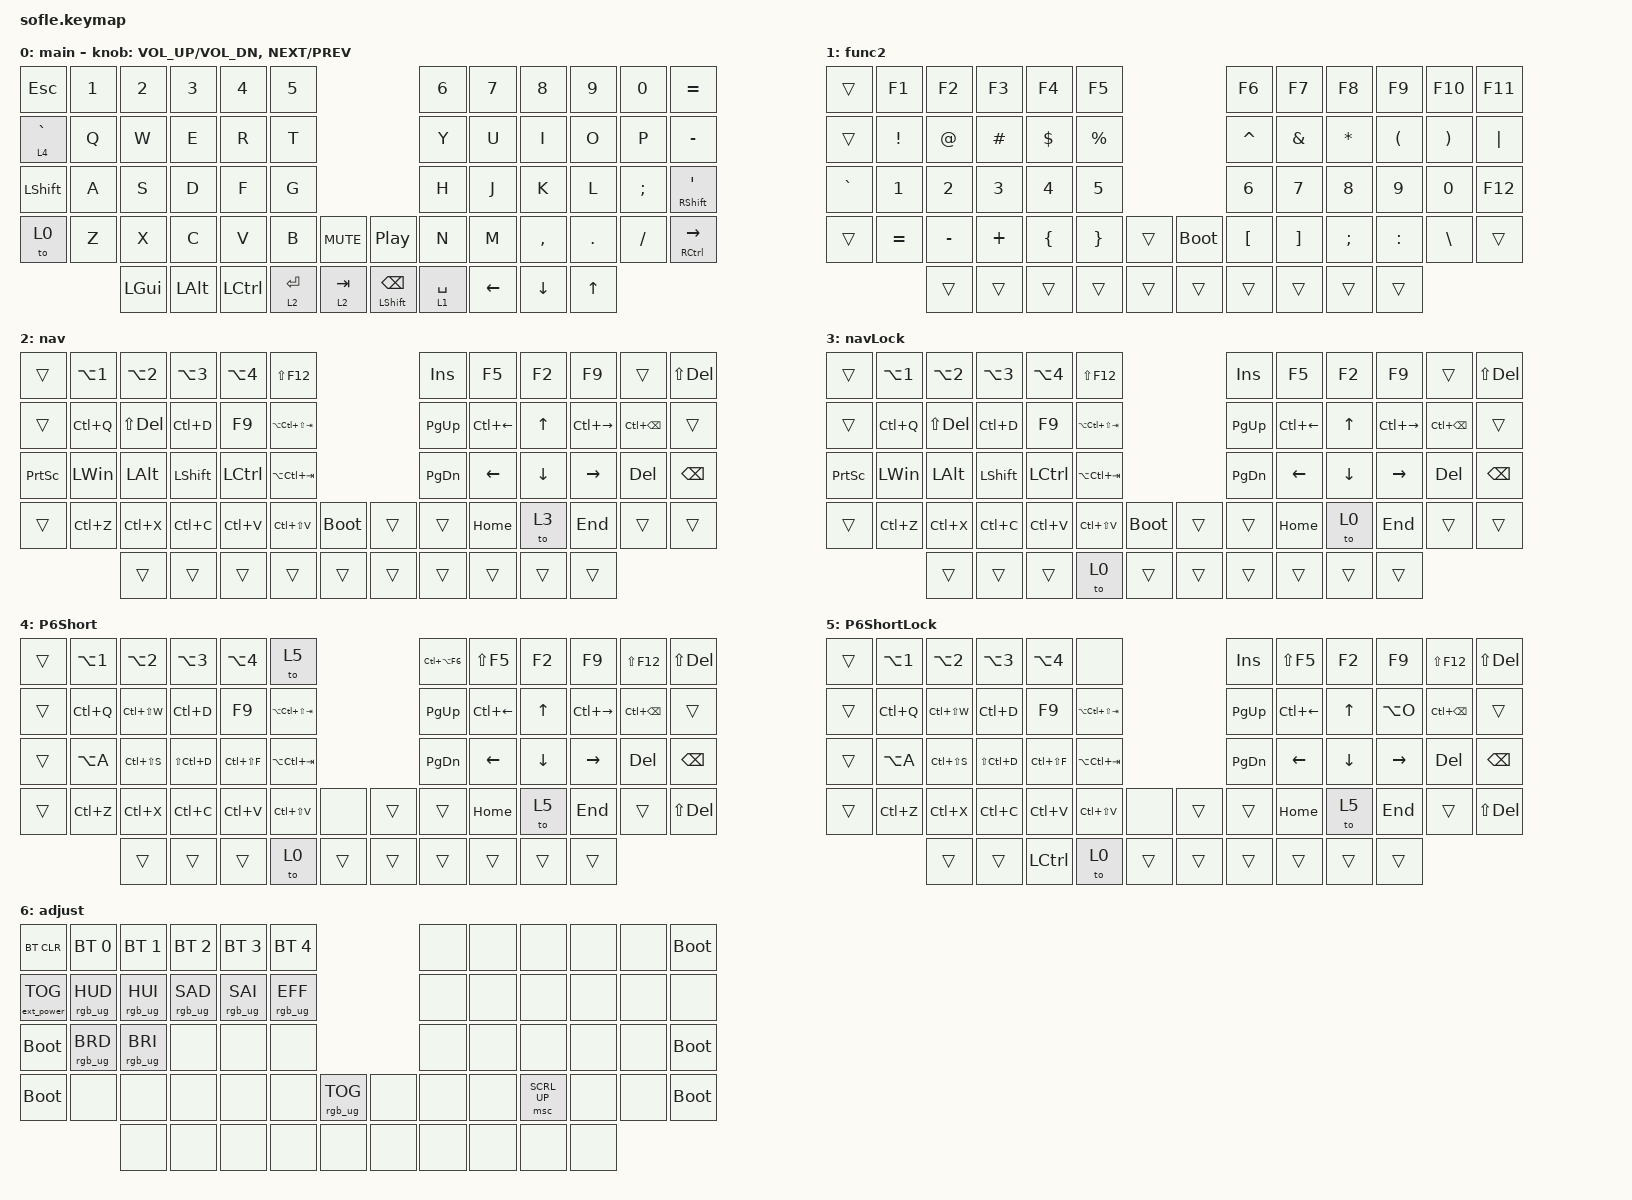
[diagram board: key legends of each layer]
/*
 * Copyright (c) 2020 The ZMK Contributors
 *
 * SPDX-License-Identifier: MIT
 */

#include <behaviors.dtsi>
#include <dt-bindings/zmk/bt.h>
#include <dt-bindings/zmk/ext_power.h>
#include <dt-bindings/zmk/keys.h>
#include <dt-bindings/zmk/pointing.h>
#include <dt-bindings/zmk/rgb.h>

// #define BASE 0
// #define LOWER 1
// #define RAISE 2
// #define NAVIGATION 3
// #define ADJUST 4

/ {
    // Activate ADJUST layer by pressing raise and lower

    conditional_layers { compatible = "zmk,conditional-layers"; };

    behaviors {
        hold_tap: hold_tap {
            compatible = "zmk,behavior-hold-tap";
            label = "HOLD_TAP";
            bindings = <&none>, <&none>;

            #binding-cells = <2>;
            tapping-term-ms = <200>;
            hold-while-undecided;
            hold-while-undecided-linger;
            retro-tap;
            hold-trigger-on-release;
            flavor = "balanced";
        };

        new_behavior: new_behavior {
            compatible = "zmk,behavior-mouse-key-press";
            label = "NEW_BEHAVIOR";
            #binding-cells = <1>;
        };
    };

    keymap {
        compatible = "zmk,keymap";

        main {
            display-name = "main";

            // ------------------------------------------------------------------------------------------------------------
            // |   `   |  1  |  2  |  3   |  4   |  5   |                   |  6   |  7    |  8    |  9   |   0   |   -   |
            // |  ESC  |  Q  |  W  |  E   |  R   |  T   |                   |  Y   |  U    |  I    |  O   |   P   | BKSPC |
            // |  TAB  |  A  |  S  |  D   |  F   |  G   |                   |  H   |  J    |  K    |  L   |   ;   |   '   |
            // | SHIFT |  Z  |  X  |  C   |  V   |  B   |  MUTE  |  |       |  N   |  M    |  ,    |  .   |   /   | SHIFT |
            //               | GUI | ALT  | CTRL | LOWER|  ENTER |  | SPACE | RAISE| CTRL  | ALT   | GUI  |

            bindings = <
&kp ESCAPE   &kp N1  &kp N2    &kp N3    &kp N4     &kp N5                                               &kp N6       &kp N7          &kp N8          &kp N9        &kp N0     &kp EQUAL
&lt 4 GRAVE  &kp Q   &kp W     &kp E     &kp R      &kp T                                                &kp Y        &kp U           &kp I           &kp O         &kp P      &kp MINUS
&kp LSHIFT   &kp A   &kp S     &kp D     &kp F      &kp G                                                &kp H        &kp J           &kp K           &kp L         &kp SEMI   &mt RSHIFT APOS
&to 0        &kp Z   &kp X     &kp C     &kp V      &kp B        &kp C_MUTE    &kp C_PLAY_PAUSE          &kp N        &kp M           &kp COMMA       &kp DOT       &kp SLASH  &mt RIGHT_CONTROL RIGHT
                     &kp LGUI  &kp LALT  &kp LCTRL  &lt 2 ENTER  &lt 2 TAB     &mt LEFT_SHIFT BACKSPACE  &lt 1 SPACE  &kp LEFT_ARROW  &kp DOWN_ARROW  &kp UP_ARROW
            >;

            sensor-bindings =
                <&inc_dec_kp C_VOL_UP C_VOL_DN>,
                <&inc_dec_kp C_NEXT C_PREV>;
        };

        func2 {
            display-name = "func2";

            // TODO: Some binds are waiting for shifted keycode support.
            // ------------------------------------------------------------------------------------------------------------
            // | PRSCR |  F1 |  F2 |  F3  |  F4  |  F5  |                   |  F6  |  F7   |  F8   |  F9  |  F10  |  F11  |
            // |   `   |  1  |  2  |  3   |  4   |  5   |                   |  6   |  7    |  8    |  9   |   0   |  F12  |
            // |       |  !  |  @  |  #   |  $   |  %   |                   |  ^   |  &    |  *    |  (   |   )   |   |   |
            // |       |  =  |  -  |  +   |  {   |  }   |        |  |       |  [   |  ]    |  ;    |  :   |   \   |       |
            //               |     |      |      |      |        |  |       |      |       |       |      |

            bindings = <
&trans     &kp F1     &kp F2     &kp F3    &kp F4    &kp F5                            &kp F6     &kp F7    &kp F8     &kp F9     &kp F10   &kp F11
&trans     &kp EXCL   &kp AT     &kp HASH  &kp DLLR  &kp PRCNT                         &kp CARET  &kp AMPS  &kp ASTRK  &kp LPAR   &kp RPAR  &kp PIPE
&kp GRAVE  &kp N1     &kp N2     &kp N3    &kp N4    &kp N5                            &kp N6     &kp N7    &kp N8     &kp N9     &kp N0    &kp F12
&trans     &kp EQUAL  &kp MINUS  &kp PLUS  &kp LBRC  &kp RBRC   &trans    &bootloader  &kp LBKT   &kp RBKT  &kp SEMI   &kp COLON  &kp BSLH  &trans
                      &trans     &trans    &trans    &trans     &trans    &trans       &trans     &trans    &trans     &trans
            >;
        };

        nav {
            display-name = "nav";

            // ------------------------------------------------------------------------------------------------------------
            // |   `   | BT1  | BT2  |  BT3  |  BT4  |  BT5 |                |      |      |       |      |       |RC(DEL)|
            // |       | INS  | PSCR | GUI   |       |      |                | PGUP |      |   ^   |      |       |       |
            // |       | ALT  | CTRL | SHIFT |       | CAPS |                | PGDN |   <- |   v   |  ->  |  DEL  | BKSPC |
            // |       | UNDO | CUT  | COPY  | PASTE |      |      |  |      |      |      |       |      |       |       |
            //                |      |       |       |      |      |  |      |      |      |       |      |

            bindings = <
&trans           &kp LA(N1)  &kp LA(N2)    &kp LA(N3)  &kp LA(N4)  &kp LS(F12)                                 &kp INSERT  &kp F5              &kp F2    &kp F9               &trans             &kp LS(DEL)
&trans           &kp LC(Q)   &kp LS(DEL)   &kp LC(D)   &kp F9      &kp LA(LC(LS(TAB)))                         &kp PG_UP   &kp LC(LEFT_ARROW)  &kp UP    &kp LC(RIGHT_ARROW)  &kp LC(BACKSPACE)  &trans
&kp PRINTSCREEN  &kp LWIN    &kp LEFT_ALT  &kp LSHFT   &kp LCTRL   &kp LA(LC(TAB))                             &kp PG_DN   &kp LEFT            &kp DOWN  &kp RIGHT            &kp DEL            &kp BSPC
&trans           &kp LC(Z)   &kp LC(X)     &kp LC(C)   &kp LC(V)   &kp LC(LS(V))        &bootloader    &trans  &trans      &kp HOME            &to 3     &kp END              &trans             &trans
                             &trans        &trans      &trans      &trans               &trans         &trans  &trans      &trans              &trans    &trans
            >;
        };

        navLock {
            display-name = "navLock";

            // ------------------------------------------------------------------------------------------------------------
            // |   `   | BT1  | BT2  |  BT3  |  BT4  |  BT5 |                |      |      |       |      |       |RC(DEL)|
            // |       | INS  | PSCR | GUI   |       |      |                | PGUP |      |   ^   |      |       |       |
            // |       | ALT  | CTRL | SHIFT |       | CAPS |                | PGDN |   <- |   v   |  ->  |  DEL  | BKSPC |
            // |       | UNDO | CUT  | COPY  | PASTE |      |      |  |      |      |      |       |      |       |       |
            //                |      |       |       |      |      |  |      |      |      |       |      |

            bindings = <
&trans           &kp LA(N1)  &kp LA(N2)    &kp LA(N3)  &kp LA(N4)  &kp LS(F12)                                 &kp INSERT  &kp F5              &kp F2    &kp F9               &trans             &kp LS(DEL)
&trans           &kp LC(Q)   &kp LS(DEL)   &kp LC(D)   &kp F9      &kp LA(LC(LS(TAB)))                         &kp PG_UP   &kp LC(LEFT_ARROW)  &kp UP    &kp LC(RIGHT_ARROW)  &kp LC(BACKSPACE)  &trans
&kp PRINTSCREEN  &kp LWIN    &kp LEFT_ALT  &kp LSHFT   &kp LCTRL   &kp LA(LC(TAB))                             &kp PG_DN   &kp LEFT            &kp DOWN  &kp RIGHT            &kp DEL            &kp BSPC
&trans           &kp LC(Z)   &kp LC(X)     &kp LC(C)   &kp LC(V)   &kp LC(LS(V))        &bootloader    &trans  &trans      &kp HOME            &to 0     &kp END              &trans             &trans
                             &trans        &trans      &trans      &to 0                &trans         &trans  &trans      &trans              &trans    &trans
            >;
        };

        P6Short {
            display-name = "P6Short";
            bindings = <
&trans  &kp LA(NUMBER_1)  &kp LA(NUMBER_2)  &kp LA(N3)     &kp LA(NUMBER_4)  &to 5                                  &kp LC(LA(F6))  &kp LS(F5)          &kp F2    &kp F9               &kp LS(F12)        &kp LS(DEL)
&trans  &kp LC(Q)         &kp LC(LS(W))     &kp LC(D)      &kp F9            &kp LA(LC(LS(TAB)))                    &kp PG_UP       &kp LC(LEFT_ARROW)  &kp UP    &kp LC(RIGHT_ARROW)  &kp LC(BACKSPACE)  &trans
&trans  &kp LA(A)         &kp LC(LS(S))     &kp LS(LC(D))  &kp LC(LS(F))     &kp LA(LC(TAB))                        &kp PG_DN       &kp LEFT            &kp DOWN  &kp RIGHT            &kp DEL            &kp BSPC
&trans  &kp LC(Z)         &kp LC(X)         &kp LC(C)      &kp LC(V)         &kp LC(LS(V))        &none     &trans  &trans          &kp HOME            &to 5     &kp END              &trans             &kp LS(DEL)
                          &trans            &trans         &trans            &to 0                &trans    &trans  &trans          &trans              &trans    &trans
            >;
        };

        P6ShortLock {
            display-name = "P6ShortLock";
            bindings = <
&trans  &kp LA(NUMBER_1)  &kp LA(NUMBER_2)  &kp LA(N3)     &kp LA(NUMBER_4)  &none                                  &kp INSERT  &kp LS(F5)          &kp F2    &kp F9     &kp LS(F12)        &kp LS(DEL)
&trans  &kp LC(Q)         &kp LC(LS(W))     &kp LC(D)      &kp F9            &kp LA(LC(LS(TAB)))                    &kp PG_UP   &kp LC(LEFT_ARROW)  &kp UP    &kp LA(O)  &kp LC(BACKSPACE)  &trans
&trans  &kp LA(A)         &kp LC(LS(S))     &kp LS(LC(D))  &kp LC(LS(F))     &kp LA(LC(TAB))                        &kp PG_DN   &kp LEFT            &kp DOWN  &kp RIGHT  &kp DEL            &kp BSPC
&trans  &kp LC(Z)         &kp LC(X)         &kp LC(C)      &kp LC(V)         &kp LC(LS(V))        &none     &trans  &trans      &kp HOME            &to 5     &kp END    &trans             &kp LS(DEL)
                          &trans            &trans         &kp LCTRL         &to 0                &trans    &trans  &trans      &trans              &trans    &trans
            >;
        };

        adjust_layer {
            // ----------------------------------------------------------------------------------------------------------------------------
            // | BTCLR  |  BT1    |  BT2    |   BT3   |   BT4   |   BT5   |                  |      |      |       |      |       |       |
            // | EXTPWR | RGB_HUD | RGB_HUI | RGB_SAD | RGB_SAI | RGB_EFF |                  |      |      |       |      |       |       |
            // |        | RGB_BRD | RGB_BRI |         |         |         |                  |      |      |       |      |       |       |
            // |        |         |         |         |         |         | RGB_TOG | |      |      |      |       |      |       |       |
            //                    |         |         |         |         |         | |      |      |      |       |      |

            display-name = "adjust";
            bindings = <
&bt BT_CLR         &bt BT_SEL 0     &bt BT_SEL 1     &bt BT_SEL 2     &bt BT_SEL 3     &bt BT_SEL 4                               &none  &none  &none         &none  &none  &bootloader
&ext_power EP_TOG  &rgb_ug RGB_HUD  &rgb_ug RGB_HUI  &rgb_ug RGB_SAD  &rgb_ug RGB_SAI  &rgb_ug RGB_EFF                            &none  &none  &none         &none  &none  &none
&bootloader        &rgb_ug RGB_BRD  &rgb_ug RGB_BRI  &none            &none            &none                                      &none  &none  &none         &none  &none  &bootloader
&bootloader        &none            &none            &none            &none            &none            &rgb_ug RGB_TOG    &none  &none  &none  &msc SCRL_UP  &none  &none  &bootloader
                                    &none            &none            &none            &none            &none              &none  &none  &none  &none         &none
            >;
        };
    };
};
